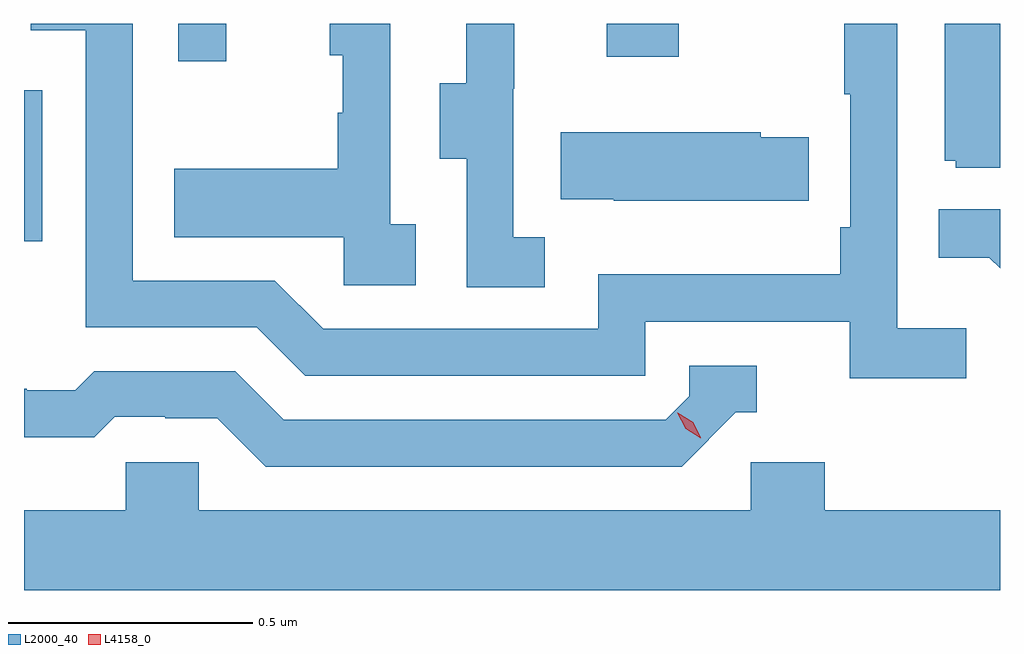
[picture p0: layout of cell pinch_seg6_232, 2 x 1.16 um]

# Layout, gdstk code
import gdstk
lib = gdstk.Library(unit=1e-6, precision=1e-09)
def R(c, l, rs):  # rectangles x0, y0, x1, y1
    for r in rs: c.add(gdstk.rectangle(r[:2], r[2:], *l))
def P(c, l, *ps):  # polygons
    for p in ps: c.add(gdstk.Polygon(p, *l))
L2000_40 = (2000, 40)
L4158_0 = (4158, 0)

pinch_seg6_232 = lib.new_cell('pinch_seg6_232')
R(pinch_seg6_232, L2000_40, [(1129.379,933.399,1129.416,933.708), (1129.695,933.768,1129.793,933.844), (1130.573,933.777,1130.721,933.844)])
P(pinch_seg6_232, L2000_40, [(1131.379,933.844),(1131.266,933.844),(1131.266,933.564),(1131.288,933.564),(1131.288,933.549),(1131.379,933.549)],
  [(1130.446,933.407),(1130.382,933.407),(1130.382,933.711),(1130.384,933.711),(1130.384,933.844),(1130.285,933.844),(1130.285,933.723),(1130.231,933.723),(1130.231,933.568),(1130.286,933.568),(1130.286,933.304),(1130.446,933.304)],
  [(1130.182,933.434),(1130.13,933.434),(1130.13,933.844),(1130.006,933.844),(1130.006,933.78),(1130.032,933.78),(1130.032,933.662),(1130.022,933.662),(1130.022,933.547),(1129.687,933.547),(1129.687,933.407),(1130.034,933.407),(1130.034,933.309),(1130.182,933.309)],
  [(1131.31,933.22),(1131.168,933.22),(1131.168,933.844),(1131.06,933.844),(1131.06,933.7),(1131.072,933.7),(1131.072,933.427),(1131.052,933.427),(1131.052,933.331),(1130.556,933.331),(1130.556,933.219),(1129.992,933.219),(1129.893,933.318),(1129.602,933.318),(1129.602,933.844),(1129.393,933.844),(1129.393,933.831),(1129.506,933.831),(1129.506,933.222),(1129.856,933.222),(1129.955,933.123),(1130.652,933.123),(1130.652,933.234),(1131.071,933.234),(1131.071,933.118),(1131.31,933.118)],
  [(1130.987,933.612),(1130.889,933.612),(1130.889,933.622),(1130.479,933.622),(1130.479,933.485),(1130.587,933.485),(1130.587,933.482),(1130.987,933.482)],
  [(1131.379,933.464),(1131.253,933.464),(1131.253,933.365),(1131.357,933.365),(1131.379,933.343)],
  [(1130.838,933.048),(1130.881,933.048),(1130.881,933.144),(1130.742,933.144),(1130.742,933.081),(1130.694,933.033),(1129.911,933.033),(1129.812,933.132),(1129.523,933.132),(1129.484,933.093),(1129.385,933.093),(1129.385,933.096),(1129.379,933.096),(1129.379,932.997),(1129.523,932.997),(1129.565,933.039),(1129.668,933.039),(1129.668,933.036),(1129.775,933.036),(1129.874,932.937),(1130.727,932.937)],
  [(1131.379,932.848),(1131.02,932.848),(1131.02,932.946),(1130.868,932.946),(1130.868,932.848),(1129.737,932.848),(1129.737,932.946),(1129.587,932.946),(1129.587,932.848),(1129.379,932.848),(1129.379,932.684),(1131.379,932.684)])
P(pinch_seg6_232, L4158_0, [(1130.766,932.995),(1130.735,933.015),(1130.718,933.047),(1130.718,933.047),(1130.719,933.047),(1130.75,933.028),(1130.766,932.996),(1130.766,932.995)])

lib.write_gds('pinch_seg6_232.gds')
